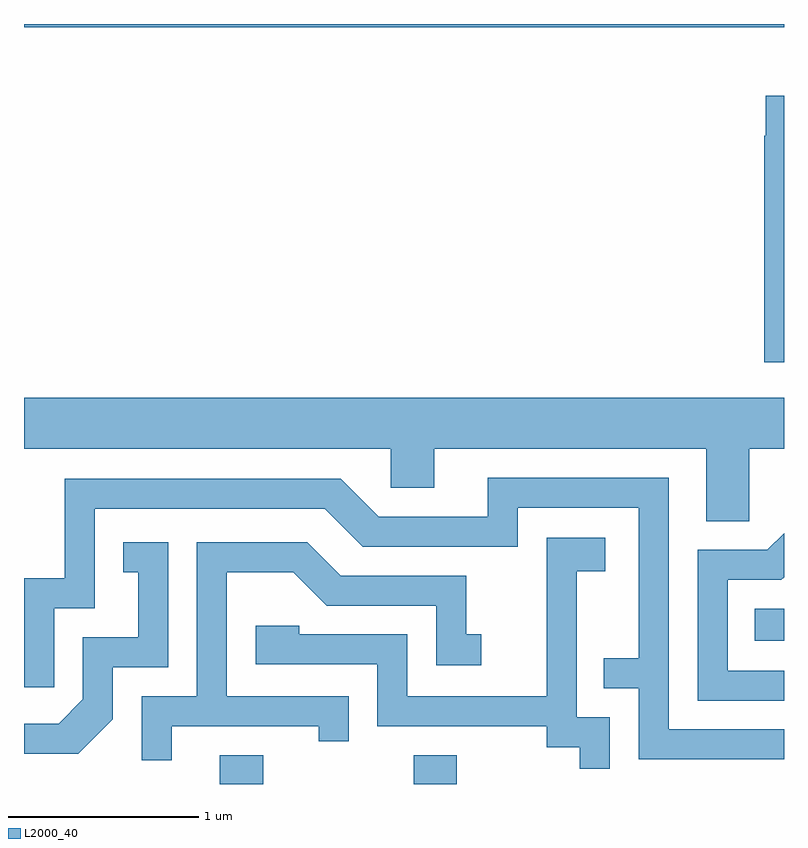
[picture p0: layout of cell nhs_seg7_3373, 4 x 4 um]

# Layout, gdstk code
import gdstk
lib = gdstk.Library(unit=1e-6, precision=1e-09)
def R(c, l, rs):  # rectangles x0, y0, x1, y1
    for r in rs: c.add(gdstk.rectangle(r[:2], r[2:], *l))
def P(c, l, *ps):  # polygons
    for p in ps: c.add(gdstk.Polygon(p, *l))
L2000_40 = (2000, 40)

nhs_seg7_3373 = lib.new_cell('nhs_seg7_3373')
R(nhs_seg7_3373, L2000_40, [(288.641,1790.252,288.869,1790.404), (289.661,1790.252,289.889,1790.404), (291.458,1791.006,291.611,1791.174), (287.611,1794.236,291.611,1794.252)])
P(nhs_seg7_3373, L2000_40, [(291.611,1793.874),(291.516,1793.874),(291.516,1793.665),(291.506,1793.665),(291.506,1792.471),(291.611,1792.471)],
  [(291.429,1792.016),(291.611,1792.016),(291.611,1792.284),(287.611,1792.284),(287.611,1792.016),(289.541,1792.016),(289.541,1791.811),(289.769,1791.811),(289.769,1792.016),(291.201,1792.016),(291.201,1791.636),(291.429,1791.636)],
  [(291.611,1790.539),(291.004,1790.539),(291.004,1791.864),(290.051,1791.864),(290.051,1791.659),(289.477,1791.659),(289.277,1791.859),(287.826,1791.859),(287.826,1791.334),(287.611,1791.334),(287.611,1790.761),(287.769,1790.761),(287.769,1791.176),(287.984,1791.176),(287.984,1791.701),(289.194,1791.701),(289.394,1791.501),(290.209,1791.501),(290.209,1791.706),(290.846,1791.706),(290.846,1790.914),(290.663,1790.914),(290.663,1790.756),(290.846,1790.756),(290.846,1790.381),(291.611,1790.381)],
  [(291.611,1790.849),(291.314,1790.849),(291.314,1791.326),(291.597,1791.326),(291.611,1791.34),(291.611,1791.571),(291.524,1791.484),(291.156,1791.484),(291.156,1790.691),(291.611,1790.691)],
  [(290.694,1790.604),(290.519,1790.604),(290.519,1791.371),(290.669,1791.371),(290.669,1791.549),(290.361,1791.549),(290.361,1790.714),(289.629,1790.714),(289.629,1791.039),(289.059,1791.039),(289.059,1791.084),(288.831,1791.084),(288.831,1790.881),(289.471,1790.881),(289.471,1790.556),(290.361,1790.556),(290.361,1790.446),(290.536,1790.446),(290.536,1790.333),(290.694,1790.333)],
  [(288.389,1790.556),(289.161,1790.556),(289.161,1790.478),(289.319,1790.478),(289.319,1790.714),(288.679,1790.714),(288.679,1791.366),(289.029,1791.366),(289.204,1791.191),(289.781,1791.191),(289.781,1790.876),(290.018,1790.876),(290.018,1791.039),(289.939,1791.039),(289.939,1791.349),(289.277,1791.349),(289.102,1791.524),(288.521,1791.524),(288.521,1790.714),(288.231,1790.714),(288.231,1790.378),(288.389,1790.378)],
  [(288.079,1790.594),(288.079,1790.866),(288.369,1790.866),(288.369,1791.524),(288.133,1791.524),(288.133,1791.366),(288.211,1791.366),(288.211,1791.024),(287.921,1791.024),(287.921,1790.697),(287.794,1790.569),(287.611,1790.569),(287.611,1790.411),(287.897,1790.411)])

lib.write_gds('nhs_seg7_3373.gds')
